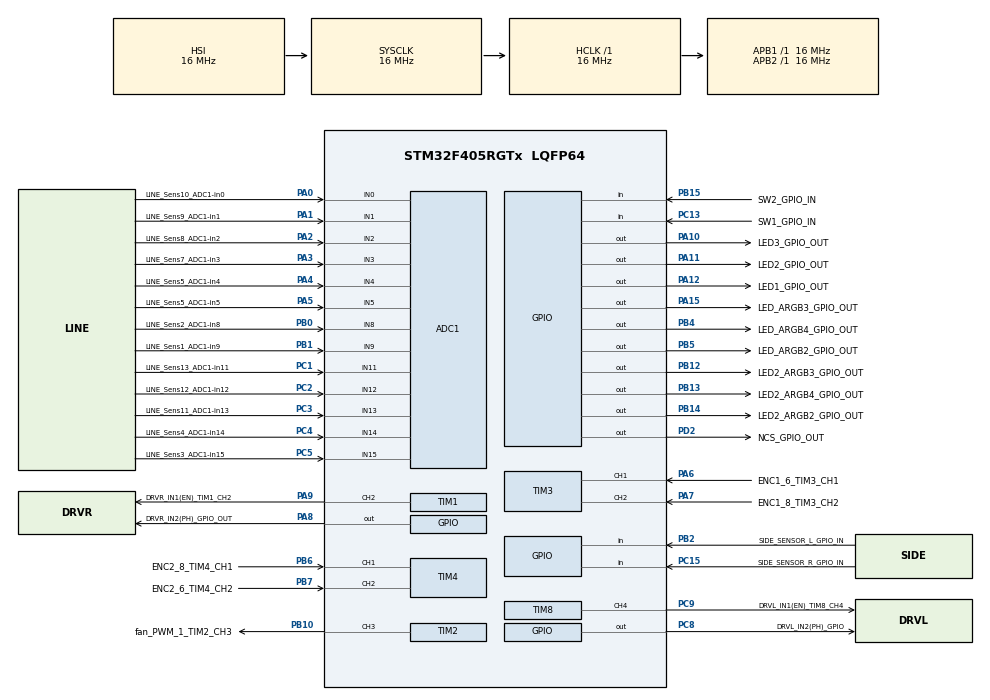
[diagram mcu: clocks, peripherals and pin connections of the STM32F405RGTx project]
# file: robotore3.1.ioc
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ADC1.Channel-0\#ChannelRegularConversion=ADC_CHANNEL_5
ADC1.NbrOfConversionFlag=1
ADC1.Rank-0\#ChannelRegularConversion=1
ADC1.SamplingTime-0\#ChannelRegularConversion=ADC_SAMPLETIME_3CYCLES
ADC1.master=1
Mcu.Family=STM32F4
Mcu.Name=STM32F405RGTx
Mcu.Package=LQFP64
NVIC.PriorityGroup=NVIC_PRIORITYGROUP_4
PA0-WKUP.GPIO_Label=LINE_Sens10_ADC1-in0
PA0-WKUP.Signal=ADCx_IN0
PA1.GPIO_Label=LINE_Sens9_ADC1-in1
PA1.Signal=ADCx_IN1
PA10.GPIO_Label=LED3_GPIO_OUT
PA10.Signal=GPIO_Output
PA11.GPIO_Label=LED2_GPIO_OUT
PA11.Signal=GPIO_Output
PA12.GPIO_Label=LED1_GPIO_OUT
PA12.Signal=GPIO_Output
PA13.Mode=Trace_Asynchronous_SW
PA13.Signal=SYS_JTMS-SWDIO
PA14.Mode=Trace_Asynchronous_SW
PA14.Signal=SYS_JTCK-SWCLK
PA15.GPIO_Label=LED_ARGB3_GPIO_OUT
PA15.Signal=GPIO_Output
PA2.GPIO_Label=LINE_Sens8_ADC1-in2
PA2.Signal=ADCx_IN2
PA3.GPIO_Label=LINE_Sens7_ADC1-in3
PA3.Signal=ADCx_IN3
PA4.GPIO_Label=LINE_Sens5_ADC1-in4
PA4.Signal=ADCx_IN4
PA5.GPIO_Label=LINE_Sens5_ADC1-in5
PA5.Signal=ADCx_IN5
PA6.GPIO_Label=ENC1_6_TIM3_CH1
PA6.Signal=S_TIM3_CH1
PA7.GPIO_Label=ENC1_8_TIM3_CH2
PA7.Signal=S_TIM3_CH2
PA8.GPIO_Label=DRVR_IN2(PH)_GPIO_OUT
PA8.Signal=GPIO_Output
PA9.GPIO_Label=DRVR_IN1(EN)_TIM1_CH2
PA9.Signal=S_TIM1_CH2
PB0.GPIO_Label=LINE_Sens2_ADC1-in8
PB0.Signal=ADCx_IN8
PB1.GPIO_Label=LINE_Sens1_ADC1-in9
PB1.Signal=ADCx_IN9
PB10.GPIO_Label=fan_PWM_1_TIM2_CH3
PB10.Signal=S_TIM2_CH3
PB12.GPIO_Label=LED2_ARGB3_GPIO_OUT
PB12.Signal=GPIO_Output
PB13.GPIO_Label=LED2_ARGB4_GPIO_OUT
PB13.Signal=GPIO_Output
PB14.GPIO_Label=LED2_ARGB2_GPIO_OUT
PB14.Signal=GPIO_Output
PB15.GPIO_Label=SW2_GPIO_IN
PB15.Signal=GPIO_Input
PB2.GPIO_Label=SIDE_SENSOR_L_GPIO_IN
PB2.Signal=GPIO_Input
PB3.Mode=Trace_Asynchronous_SW
PB3.Signal=SYS_JTDO-SWO
PB4.GPIO_Label=LED_ARGB4_GPIO_OUT
PB4.Signal=GPIO_Output
PB5.GPIO_Label=LED_ARGB2_GPIO_OUT
PB5.Signal=GPIO_Output
PB6.GPIO_Label=ENC2_8_TIM4_CH1
PB6.Signal=S_TIM4_CH1
PB7.GPIO_Label=ENC2_6_TIM4_CH2
PB7.Signal=S_TIM4_CH2
PB8.GPIO_Label=LCD_3_I2C1_SCL
PB8.Signal=I2C1_SCL
PB9.GPIO_Label=LCD2_I2C1_SDA
PB9.Signal=I2C1_SDA
PC1.GPIO_Label=LINE_Sens13_ADC1-in11
PC1.Signal=ADCx_IN11
PC10.Signal=SPI3_SCK
PC11.Signal=SPI3_MISO
PC12.Signal=SPI3_MOSI
PC13-ANTI_TAMP.GPIO_Label=SW1_GPIO_IN
PC13-ANTI_TAMP.Signal=GPIO_Input
PC15-OSC32_OUT.GPIO_Label=SIDE_SENSOR_R_GPIO_IN
PC15-OSC32_OUT.Signal=GPIO_Input
PC2.GPIO_Label=LINE_Sens12_ADC1-in12
PC2.Signal=ADCx_IN12
PC3.GPIO_Label=LINE_Sens11_ADC1-in13
PC3.Signal=ADCx_IN13
PC4.GPIO_Label=LINE_Sens4_ADC1-in14
PC4.Signal=ADCx_IN14
PC5.GPIO_Label=LINE_Sens3_ADC1-in15
PC5.Signal=ADCx_IN15
PC6.Signal=USART6_TX
PC7.Signal=USART6_RX
PC8.GPIO_Label=DRVL_IN2(PH)_GPIO
PC8.Signal=GPIO_Output
PC9.GPIO_Label=DRVL_IN1(EN)_TIM8_CH4
PC9.Signal=S_TIM8_CH4
PD2.GPIO_Label=NCS_GPIO_OUT
PD2.Signal=GPIO_Output
PH0-OSC_IN.Mode=HSE-External-Oscillator
PH0-OSC_IN.Signal=RCC_OSC_IN
PH1-OSC_OUT.Mode=HSE-External-Oscillator
PH1-OSC_OUT.Signal=RCC_OSC_OUT
ProjectManager.HeapSize=0x200
ProjectManager.StackSize=0x400
ProjectManager.TargetToolchain=STM32CubeIDE
RCC.AHBFreq_Value=16000000
RCC.APB1Freq_Value=16000000
RCC.APB2Freq_Value=16000000
RCC.CortexFreq_Value=16000000
RCC.HSE_VALUE=25000000
RCC.HSI_VALUE=16000000
RCC.LSE_VALUE=32768
RCC.SYSCLKFreq_VALUE=16000000
RCC.VCOOutputFreq_Value=192000000
SH.ADCx_IN0.0=ADC1_IN0,IN0
SH.ADCx_IN1.0=ADC1_IN1,IN1
SH.ADCx_IN11.0=ADC1_IN11,IN11
SH.ADCx_IN12.0=ADC1_IN12,IN12
SH.ADCx_IN13.0=ADC1_IN13,IN13
SH.ADCx_IN14.0=ADC1_IN14,IN14
SH.ADCx_IN15.0=ADC1_IN15,IN15
SH.ADCx_IN2.0=ADC1_IN2,IN2
SH.ADCx_IN3.0=ADC1_IN3,IN3
SH.ADCx_IN4.0=ADC1_IN4,IN4
SH.ADCx_IN5.0=ADC1_IN5,IN5
SH.ADCx_IN8.0=ADC1_IN8,IN8
SH.ADCx_IN9.0=ADC1_IN9,IN9
SH.S_TIM1_CH2.0=TIM1_CH2,PWM Generation2 CH2
SH.S_TIM2_CH3.0=TIM2_CH3,PWM Generation3 CH3
SH.S_TIM3_CH1.0=TIM3_CH1,Encoder_Interface
SH.S_TIM3_CH2.0=TIM3_CH2,Encoder_Interface
SH.S_TIM4_CH1.0=TIM4_CH1,Encoder_Interface
SH.S_TIM4_CH2.0=TIM4_CH2,Encoder_Interface
SH.S_TIM8_CH4.0=TIM8_CH4,PWM Generation4 CH4
TIM1.Channel-PWM\ Generation2\ CH2=TIM_CHANNEL_2
TIM1.Period=4095
TIM2.Channel-PWM\ Generation3\ CH3=TIM_CHANNEL_3
TIM2.Period=4095
TIM8.Channel-PWM\ Generation4\ CH4=TIM_CHANNEL_4
TIM8.Period=4095
board=custom

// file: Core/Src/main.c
/* USER CODE BEGIN Header */
/**
  ******************************************************************************
  * @file           : main.c
  * @brief          : Main program body
  ******************************************************************************
  * @attention
  *
  * Copyright (c) 2025 STMicroelectronics.
  * All rights reserved.
  *
  * This software is licensed under terms that can be found in the LICENSE file
  * in the root directory of this software component.
  * If no LICENSE file comes with this software, it is provided AS-IS.
  *
  ******************************************************************************
  */
/* USER CODE END Header */
#include "main.h"

/* USER CODE BEGIN PTD */
#define SENSOR_COUNT 6
#define dt 0.01
#define TIRE 22
#define M_PI 3.1415926535

float base_speed = 0;
float Kp = 0.7;
float Ki = 0.0;//不�?
float Kd = 0.6;
float previous_error = 0.0;
float integral = 0.0;
float target_speed_L = 0.0;
float target_speed_R = 0.0;
float current_speed_L = 0.0;
float current_speed_R = 0.0;
float side_r_flag = 0, side_l_flag = 0;
float side_l_time = 0;
float side_r_time = 0;
float stop_flag = 0;
uint16_t main_sens[SENSOR_COUNT];
uint16_t side_sens[2];
float Line1_sens[SENSOR_COUNT];
float Line2_sens[SENSOR_COUNT];
float Line3_sens[2];
float adjusted_speed_L = 0;
float adjusted_speed_R = 0;
float Line1_sens1 = 0, Line1_sens2 = 0, Line1_sens3 = 0, Line1_sens4 = 0;
float Line2_sens1 = 0, Line2_sens2 = 0, Line2_sens3 = 0, Line2_sens4 = 0;
int mode = 0;
int mode_processed = 0;
int tape_list[1000];
int section_index = 0;
uint32_t last_tape_time = 0;
uint32_t current_time = 0, current_ftime = 0, current_2ftime = 0;
uint32_t tape_interval = 0;
int firstLapComplete = 0;
float threshold_0 = 0, threshold_1 = 0;
float min_black_0 = 3000, min_black_1 = 3000;
float max_white_a[SENSOR_COUNT];
float min_black_a[SENSOR_COUNT];

float max_white_b[SENSOR_COUNT];
float min_black_b[SENSOR_COUNT];

float max_white_0 = 0;
float max_white_1 = 0;

float cross_time;
float ikiti;
/* USER CODE END PTD */

ADC_HandleTypeDef hadc1;

TIM_HandleTypeDef htim1;
TIM_HandleTypeDef htim2;
TIM_HandleTypeDef htim3;
TIM_HandleTypeDef htim4;
TIM_HandleTypeDef htim8;

void SystemClock_Config(void);
static void MX_GPIO_Init(void);
static void MX_ADC1_Init(void);
static void MX_TIM1_Init(void);
static void MX_TIM2_Init(void);
static void MX_TIM4_Init(void);
static void MX_TIM8_Init(void);
static void MX_TIM3_Init(void);

int main(void)
{

  /* MCU Configuration--------------------------------------------------------*/

  /* Reset of all peripherals, Initializes the Flash interface and the Systick. */
  HAL_Init();

  /* Configure the system clock */
  SystemClock_Config();

  /* Initialize all configured peripherals */
  MX_GPIO_Init();
  MX_ADC1_Init();
  MX_TIM1_Init();
  MX_TIM2_Init();
  MX_TIM4_Init();
  MX_TIM8_Init();
  MX_TIM3_Init();
  /* USER CODE BEGIN 2 */
  HAL_TIM_Encoder_Start_IT( &htim3,TIM_CHANNEL_ALL);//ENC1
  HAL_TIM_Encoder_Start_IT( &htim4,TIM_CHANNEL_ALL);//ENC2

  HAL_TIM_PWM_Start_IT( &htim1,TIM_CHANNEL_2);//DRVR
  HAL_TIM_PWM_Start_IT( &htim8,TIM_CHANNEL_4);//DRVL

  HAL_TIM_PWMStart_IT( &htim2,TIM_CHANNEL_3);//fan

  //PW-re
  __HAL_TIM_SET_COMPARE( &htim1,TIM_CHANNEL_2, 0);
  __HAL_TIM_SET_COMPARE( &htim8,TIM_CHANNEL_4, 0);
  __HAL_TIM_SET_COMPARE( $htim2,TIM_CHANNEL_3, 0);

  /* USER CODE END 2 */

  /* Infinite loop */
  while (1)
  {

  }
}

void SystemClock_Config(void)
{
  RCC_OscInitTypeDef RCC_OscInitStruct = {0};
  RCC_ClkInitTypeDef RCC_ClkInitStruct = {0};

  /** Configure the main internal regulator output voltage
  */
  __HAL_RCC_PWR_CLK_ENABLE();
  __HAL_PWR_VOLTAGESCALING_CONFIG(PWR_REGULATOR_VOLTAGE_SCALE1);

  /** Initializes the RCC Oscillators according to the specified parameters
  * in the RCC_OscInitTypeDef structure.
  */
  RCC_OscInitStruct.OscillatorType = RCC_OSCILLATORTYPE_HSI;
  RCC_OscInitStruct.HSIState = RCC_HSI_ON;
  RCC_OscInitStruct.HSICalibrationValue = RCC_HSICALIBRATION_DEFAULT;
  RCC_OscInitStruct.PLL.PLLState = RCC_PLL_NONE;
  if (HAL_RCC_OscConfig(&RCC_OscInitStruct) != HAL_OK)
  {
    Error_Handler();
  }

  /** Initializes the CPU, AHB and APB buses clocks
  */
  RCC_ClkInitStruct.ClockType = RCC_CLOCKTYPE_HCLK|RCC_CLOCKTYPE_SYSCLK
                              |RCC_CLOCKTYPE_PCLK1|RCC_CLOCKTYPE_PCLK2;
  RCC_ClkInitStruct.SYSCLKSource = RCC_SYSCLKSOURCE_HSI;
  RCC_ClkInitStruct.AHBCLKDivider = RCC_SYSCLK_DIV1;
  RCC_ClkInitStruct.APB1CLKDivider = RCC_HCLK_DIV1;
  RCC_ClkInitStruct.APB2CLKDivider = RCC_HCLK_DIV1;

  if (HAL_RCC_ClockConfig(&RCC_ClkInitStruct, FLASH_LATENCY_0) != HAL_OK)
  {
    Error_Handler();
  }
}

static void MX_ADC1_Init(void)
{

  ADC_ChannelConfTypeDef sConfig = {0};

  /** Configure the global features of the ADC (Clock, Resolution, Data Alignment and number of conversion)
  */
  hadc1.Instance = ADC1;
  hadc1.Init.ClockPrescaler = ADC_CLOCK_SYNC_PCLK_DIV2;
  hadc1.Init.Resolution = ADC_RESOLUTION_12B;
  hadc1.Init.ScanConvMode = DISABLE;
  hadc1.Init.ContinuousConvMode = DISABLE;
  hadc1.Init.DiscontinuousConvMode = DISABLE;
  hadc1.Init.ExternalTrigConvEdge = ADC_EXTERNALTRIGCONVEDGE_NONE;
  hadc1.Init.ExternalTrigConv = ADC_SOFTWARE_START;
  hadc1.Init.DataAlign = ADC_DATAALIGN_RIGHT;
  hadc1.Init.NbrOfConversion = 1;
  hadc1.Init.DMAContinuousRequests = DISABLE;
  hadc1.Init.EOCSelection = ADC_EOC_SINGLE_CONV;
  if (HAL_ADC_Init(&hadc1) != HAL_OK)
  {
    Error_Handler();
  }

  /** Configure for the selected ADC regular channel its corresponding rank in the sequencer and its sample time.
  */
  sConfig.Channel = ADC_CHANNEL_5;
  sConfig.Rank = 1;
  sConfig.SamplingTime = ADC_SAMPLETIME_3CYCLES;
  if (HAL_ADC_ConfigChannel(&hadc1, &sConfig) != HAL_OK)
  {
    Error_Handler();
  }

}

static void MX_TIM1_Init(void)
{

  TIM_MasterConfigTypeDef sMasterConfig = {0};
  TIM_OC_InitTypeDef sConfigOC = {0};
  TIM_BreakDeadTimeConfigTypeDef sBreakDeadTimeConfig = {0};

  htim1.Instance = TIM1;
  htim1.Init.Prescaler = 0;
  htim1.Init.CounterMode = TIM_COUNTERMODE_UP;
  htim1.Init.Period = 4095;
  htim1.Init.ClockDivision = TIM_CLOCKDIVISION_DIV1;
  htim1.Init.RepetitionCounter = 0;
  htim1.Init.AutoReloadPreload = TIM_AUTORELOAD_PRELOAD_DISABLE;
  if (HAL_TIM_PWM_Init(&htim1) != HAL_OK)
  {
    Error_Handler();
  }
  sMasterConfig.MasterOutputTrigger = TIM_TRGO_RESET;
  sMasterConfig.MasterSlaveMode = TIM_MASTERSLAVEMODE_DISABLE;
  if (HAL_TIMEx_MasterConfigSynchronization(&htim1, &sMasterConfig) != HAL_OK)
  {
    Error_Handler();
  }
  sConfigOC.OCMode = TIM_OCMODE_PWM1;
  sConfigOC.Pulse = 0;
  sConfigOC.OCPolarity = TIM_OCPOLARITY_HIGH;
  sConfigOC.OCNPolarity = TIM_OCNPOLARITY_HIGH;
  sConfigOC.OCFastMode = TIM_OCFAST_DISABLE;
  sConfigOC.OCIdleState = TIM_OCIDLESTATE_RESET;
  sConfigOC.OCNIdleState = TIM_OCNIDLESTATE_RESET;
  if (HAL_TIM_PWM_ConfigChannel(&htim1, &sConfigOC, TIM_CHANNEL_2) != HAL_OK)
  {
    Error_Handler();
  }
  sBreakDeadTimeConfig.OffStateRunMode = TIM_OSSR_DISABLE;
  sBreakDeadTimeConfig.OffStateIDLEMode = TIM_OSSI_DISABLE;
  sBreakDeadTimeConfig.LockLevel = TIM_LOCKLEVEL_OFF;
  sBreakDeadTimeConfig.DeadTime = 0;
  sBreakDeadTimeConfig.BreakState = TIM_BREAK_DISABLE;
  sBreakDeadTimeConfig.BreakPolarity = TIM_BREAKPOLARITY_HIGH;
  sBreakDeadTimeConfig.AutomaticOutput = TIM_AUTOMATICOUTPUT_DISABLE;
  if (HAL_TIMEx_ConfigBreakDeadTime(&htim1, &sBreakDeadTimeConfig) != HAL_OK)
  {
    Error_Handler();
  }
  HAL_TIM_MspPostInit(&htim1);

}

static void MX_TIM2_Init(void)
{

  TIM_MasterConfigTypeDef sMasterConfig = {0};
  TIM_OC_InitTypeDef sConfigOC = {0};

  htim2.Instance = TIM2;
  htim2.Init.Prescaler = 0;
  htim2.Init.CounterMode = TIM_COUNTERMODE_UP;
  htim2.Init.Period = 4095;
  htim2.Init.ClockDivision = TIM_CLOCKDIVISION_DIV1;
  htim2.Init.AutoReloadPreload = TIM_AUTORELOAD_PRELOAD_DISABLE;
  if (HAL_TIM_PWM_Init(&htim2) != HAL_OK)
  {
    Error_Handler();
  }
  sMasterConfig.MasterOutputTrigger = TIM_TRGO_RESET;
  sMasterConfig.MasterSlaveMode = TIM_MASTERSLAVEMODE_DISABLE;
  if (HAL_TIMEx_MasterConfigSynchronization(&htim2, &sMasterConfig) != HAL_OK)
  {
    Error_Handler();
  }
  sConfigOC.OCMode = TIM_OCMODE_PWM1;
  sConfigOC.Pulse = 0;
  sConfigOC.OCPolarity = TIM_OCPOLARITY_HIGH;
  sConfigOC.OCFastMode = TIM_OCFAST_DISABLE;
  if (HAL_TIM_PWM_ConfigChannel(&htim2, &sConfigOC, TIM_CHANNEL_3) != HAL_OK)
  {
    Error_Handler();
  }
  HAL_TIM_MspPostInit(&htim2);

}

static void MX_TIM3_Init(void)
{

  TIM_Encoder_InitTypeDef sConfig = {0};
  TIM_MasterConfigTypeDef sMasterConfig = {0};

  htim3.Instance = TIM3;
  htim3.Init.Prescaler = 0;
  htim3.Init.CounterMode = TIM_COUNTERMODE_UP;
  htim3.Init.Period = 65535;
  htim3.Init.ClockDivision = TIM_CLOCKDIVISION_DIV1;
  htim3.Init.AutoReloadPreload = TIM_AUTORELOAD_PRELOAD_DISABLE;
  sConfig.EncoderMode = TIM_ENCODERMODE_TI1;
  sConfig.IC1Polarity = TIM_ICPOLARITY_RISING;
  sConfig.IC1Selection = TIM_ICSELECTION_DIRECTTI;
  sConfig.IC1Prescaler = TIM_ICPSC_DIV1;
  sConfig.IC1Filter = 0;
  sConfig.IC2Polarity = TIM_ICPOLARITY_RISING;
  sConfig.IC2Selection = TIM_ICSELECTION_DIRECTTI;
  sConfig.IC2Prescaler = TIM_ICPSC_DIV1;
  sConfig.IC2Filter = 0;
  if (HAL_TIM_Encoder_Init(&htim3, &sConfig) != HAL_OK)
  {
    Error_Handler();
  }
  sMasterConfig.MasterOutputTrigger = TIM_TRGO_RESET;
  sMasterConfig.MasterSlaveMode = TIM_MASTERSLAVEMODE_DISABLE;
  if (HAL_TIMEx_MasterConfigSynchronization(&htim3, &sMasterConfig) != HAL_OK)
  {
    Error_Handler();
  }

}

static void MX_TIM4_Init(void)
{

  TIM_Encoder_InitTypeDef sConfig = {0};
  TIM_MasterConfigTypeDef sMasterConfig = {0};

  htim4.Instance = TIM4;
  htim4.Init.Prescaler = 0;
  htim4.Init.CounterMode = TIM_COUNTERMODE_UP;
  htim4.Init.Period = 65535;
  htim4.Init.ClockDivision = TIM_CLOCKDIVISION_DIV1;
  htim4.Init.AutoReloadPreload = TIM_AUTORELOAD_PRELOAD_DISABLE;
  sConfig.EncoderMode = TIM_ENCODERMODE_TI1;
  sConfig.IC1Polarity = TIM_ICPOLARITY_RISING;
  sConfig.IC1Selection = TIM_ICSELECTION_DIRECTTI;
  sConfig.IC1Prescaler = TIM_ICPSC_DIV1;
  sConfig.IC1Filter = 0;
  sConfig.IC2Polarity = TIM_ICPOLARITY_RISING;
  sConfig.IC2Selection = TIM_ICSELECTION_DIRECTTI;
  sConfig.IC2Prescaler = TIM_ICPSC_DIV1;
  sConfig.IC2Filter = 0;
  if (HAL_TIM_Encoder_Init(&htim4, &sConfig) != HAL_OK)
  {
    Error_Handler();
  }
  sMasterConfig.MasterOutputTrigger = TIM_TRGO_RESET;
  sMasterConfig.MasterSlaveMode = TIM_MASTERSLAVEMODE_DISABLE;
  if (HAL_TIMEx_MasterConfigSynchronization(&htim4, &sMasterConfig) != HAL_OK)
  {
    Error_Handler();
  }

}

static void MX_TIM8_Init(void)
{

  TIM_MasterConfigTypeDef sMasterConfig = {0};
  TIM_OC_InitTypeDef sConfigOC = {0};
  TIM_BreakDeadTimeConfigTypeDef sBreakDeadTimeConfig = {0};

  htim8.Instance = TIM8;
  htim8.Init.Prescaler = 0;
  htim8.Init.CounterMode = TIM_COUNTERMODE_UP;
  htim8.Init.Period = 4095;
  htim8.Init.ClockDivision = TIM_CLOCKDIVISION_DIV1;
  htim8.Init.RepetitionCounter = 0;
  htim8.Init.AutoReloadPreload = TIM_AUTORELOAD_PRELOAD_DISABLE;
  if (HAL_TIM_PWM_Init(&htim8) != HAL_OK)
  {
    Error_Handler();
  }
  sMasterConfig.MasterOutputTrigger = TIM_TRGO_RESET;
  sMasterConfig.MasterSlaveMode = TIM_MASTERSLAVEMODE_DISABLE;
  if (HAL_TIMEx_MasterConfigSynchronization(&htim8, &sMasterConfig) != HAL_OK)
  {
    Error_Handler();
  }
  sConfigOC.OCMode = TIM_OCMODE_PWM1;
  sConfigOC.Pulse = 0;
  sConfigOC.OCPolarity = TIM_OCPOLARITY_HIGH;
  sConfigOC.OCFastMode = TIM_OCFAST_DISABLE;
  sConfigOC.OCIdleState = TIM_OCIDLESTATE_RESET;
  sConfigOC.OCNIdleState = TIM_OCNIDLESTATE_RESET;
  if (HAL_TIM_PWM_ConfigChannel(&htim8, &sConfigOC, TIM_CHANNEL_4) != HAL_OK)
  {
    Error_Handler();
  }
  sBreakDeadTimeConfig.OffStateRunMode = TIM_OSSR_DISABLE;
  sBreakDeadTimeConfig.OffStateIDLEMode = TIM_OSSI_DISABLE;
  sBreakDeadTimeConfig.LockLevel = TIM_LOCKLEVEL_OFF;
  sBreakDeadTimeConfig.DeadTime = 0;
  sBreakDeadTimeConfig.BreakState = TIM_BREAK_DISABLE;
  sBreakDeadTimeConfig.BreakPolarity = TIM_BREAKPOLARITY_HIGH;
  sBreakDeadTimeConfig.AutomaticOutput = TIM_AUTOMATICOUTPUT_DISABLE;
  if (HAL_TIMEx_ConfigBreakDeadTime(&htim8, &sBreakDeadTimeConfig) != HAL_OK)
  {
    Error_Handler();
  }
  HAL_TIM_MspPostInit(&htim8);

}

static void MX_GPIO_Init(void)
{
  GPIO_InitTypeDef GPIO_InitStruct = {0};

  /* GPIO Ports Clock Enable */
  __HAL_RCC_GPIOC_CLK_ENABLE();
  __HAL_RCC_GPIOH_CLK_ENABLE();
  __HAL_RCC_GPIOA_CLK_ENABLE();
  __HAL_RCC_GPIOB_CLK_ENABLE();
  __HAL_RCC_GPIOD_CLK_ENABLE();

  /*Configure GPIO pin Output Level */
  HAL_GPIO_WritePin(GPIOB, LED2_ARGB3_GPIO_OUT_Pin|LED2_ARGB4_GPIO_OUT_Pin|LED2_ARGB2_GPIO_OUT_Pin|LED_ARGB4_GPIO_OUT_Pin
                          |LED_ARGB2_GPIO_OUT_Pin, GPIO_PIN_RESET);

  /*Configure GPIO pin Output Level */
  HAL_GPIO_WritePin(DRVL_IN2_GPIO_GPIO_Port, DRVL_IN2_GPIO_Pin, GPIO_PIN_RESET);

  /*Configure GPIO pin Output Level */
  HAL_GPIO_WritePin(GPIOA, DRVR_IN2_GPIO_OUT_Pin|LED3_GPIO_OUT_Pin|LED2_GPIO_OUT_Pin|LED1_GPIO_OUT_Pin
                          |LED_ARGB3_GPIO_OUT_Pin, GPIO_PIN_RESET);

  /*Configure GPIO pin Output Level */
  HAL_GPIO_WritePin(NCS_GPIO_OUT_GPIO_Port, NCS_GPIO_OUT_Pin, GPIO_PIN_RESET);

  /*Configure GPIO pins : SW1_GPIO_IN_Pin SIDE_SENSOR_R_GPIO_IN_Pin */
  GPIO_InitStruct.Pin = SW1_GPIO_IN_Pin|SIDE_SENSOR_R_GPIO_IN_Pin;
  GPIO_InitStruct.Mode = GPIO_MODE_INPUT;
  GPIO_InitStruct.Pull = GPIO_NOPULL;
  HAL_GPIO_Init(GPIOC, &GPIO_InitStruct);

  /*Configure GPIO pins : SIDE_SENSOR_L_GPIO_IN_Pin SW2_GPIO_IN_Pin */
  GPIO_InitStruct.Pin = SIDE_SENSOR_L_GPIO_IN_Pin|SW2_GPIO_IN_Pin;
  GPIO_InitStruct.Mode = GPIO_MODE_INPUT;
  GPIO_InitStruct.Pull = GPIO_NOPULL;
  HAL_GPIO_Init(GPIOB, &GPIO_InitStruct);

  /*Configure GPIO pins : LED2_ARGB3_GPIO_OUT_Pin LED2_ARGB4_GPIO_OUT_Pin LED2_ARGB2_GPIO_OUT_Pin LED_ARGB4_GPIO_OUT_Pin
                           LED_ARGB2_GPIO_OUT_Pin */
  GPIO_InitStruct.Pin = LED2_ARGB3_GPIO_OUT_Pin|LED2_ARGB4_GPIO_OUT_Pin|LED2_ARGB2_GPIO_OUT_Pin|LED_ARGB4_GPIO_OUT_Pin
                          |LED_ARGB2_GPIO_OUT_Pin;
  GPIO_InitStruct.Mode = GPIO_MODE_OUTPUT_PP;
  GPIO_InitStruct.Pull = GPIO_NOPULL;
  GPIO_InitStruct.Speed = GPIO_SPEED_FREQ_LOW;
  HAL_GPIO_Init(GPIOB, &GPIO_InitStruct);

  /*Configure GPIO pins : PC6 PC7 */
  GPIO_InitStruct.Pin = GPIO_PIN_6|GPIO_PIN_7;
  GPIO_InitStruct.Mode = GPIO_MODE_AF_PP;
  GPIO_InitStruct.Pull = GPIO_NOPULL;
  GPIO_InitStruct.Speed = GPIO_SPEED_FREQ_VERY_HIGH;
  GPIO_InitStruct.Alternate = GPIO_AF8_USART6;
  HAL_GPIO_Init(GPIOC, &GPIO_InitStruct);

  /*Configure GPIO pin : DRVL_IN2_GPIO_Pin */
  GPIO_InitStruct.Pin = DRVL_IN2_GPIO_Pin;
  GPIO_InitStruct.Mode = GPIO_MODE_OUTPUT_PP;
  GPIO_InitStruct.Pull = GPIO_NOPULL;
  GPIO_InitStruct.Speed = GPIO_SPEED_FREQ_LOW;
  HAL_GPIO_Init(DRVL_IN2_GPIO_GPIO_Port, &GPIO_InitStruct);

  /*Configure GPIO pins : DRVR_IN2_GPIO_OUT_Pin LED3_GPIO_OUT_Pin LED2_GPIO_OUT_Pin LED1_GPIO_OUT_Pin
                           LED_ARGB3_GPIO_OUT_Pin */
  GPIO_InitStruct.Pin = DRVR_IN2_GPIO_OUT_Pin|LED3_GPIO_OUT_Pin|LED2_GPIO_OUT_Pin|LED1_GPIO_OUT_Pin
                          |LED_ARGB3_GPIO_OUT_Pin;
  GPIO_InitStruct.Mode = GPIO_MODE_OUTPUT_PP;
  GPIO_InitStruct.Pull = GPIO_NOPULL;
  GPIO_InitStruct.Speed = GPIO_SPEED_FREQ_LOW;
  HAL_GPIO_Init(GPIOA, &GPIO_InitStruct);

  /*Configure GPIO pins : PC10 PC11 PC12 */
  GPIO_InitStruct.Pin = GPIO_PIN_10|GPIO_PIN_11|GPIO_PIN_12;
  GPIO_InitStruct.Mode = GPIO_MODE_AF_PP;
  GPIO_InitStruct.Pull = GPIO_NOPULL;
  GPIO_InitStruct.Speed = GPIO_SPEED_FREQ_VERY_HIGH;
  GPIO_InitStruct.Alternate = GPIO_AF6_SPI3;
  HAL_GPIO_Init(GPIOC, &GPIO_InitStruct);

  /*Configure GPIO pin : NCS_GPIO_OUT_Pin */
  GPIO_InitStruct.Pin = NCS_GPIO_OUT_Pin;
  GPIO_InitStruct.Mode = GPIO_MODE_OUTPUT_PP;
  GPIO_InitStruct.Pull = GPIO_NOPULL;
  GPIO_InitStruct.Speed = GPIO_SPEED_FREQ_LOW;
  HAL_GPIO_Init(NCS_GPIO_OUT_GPIO_Port, &GPIO_InitStruct);

  /*Configure GPIO pins : LCD_3_I2C1_SCL_Pin LCD2_I2C1_SDA_Pin */
  GPIO_InitStruct.Pin = LCD_3_I2C1_SCL_Pin|LCD2_I2C1_SDA_Pin;
  GPIO_InitStruct.Mode = GPIO_MODE_AF_OD;
  GPIO_InitStruct.Pull = GPIO_NOPULL;
  GPIO_InitStruct.Speed = GPIO_SPEED_FREQ_VERY_HIGH;
  GPIO_InitStruct.Alternate = GPIO_AF4_I2C1;
  HAL_GPIO_Init(GPIOB, &GPIO_InitStruct);

}

void Error_Handler(void)
{
  __disable_irq();
  while (1)
  {
  }
}
